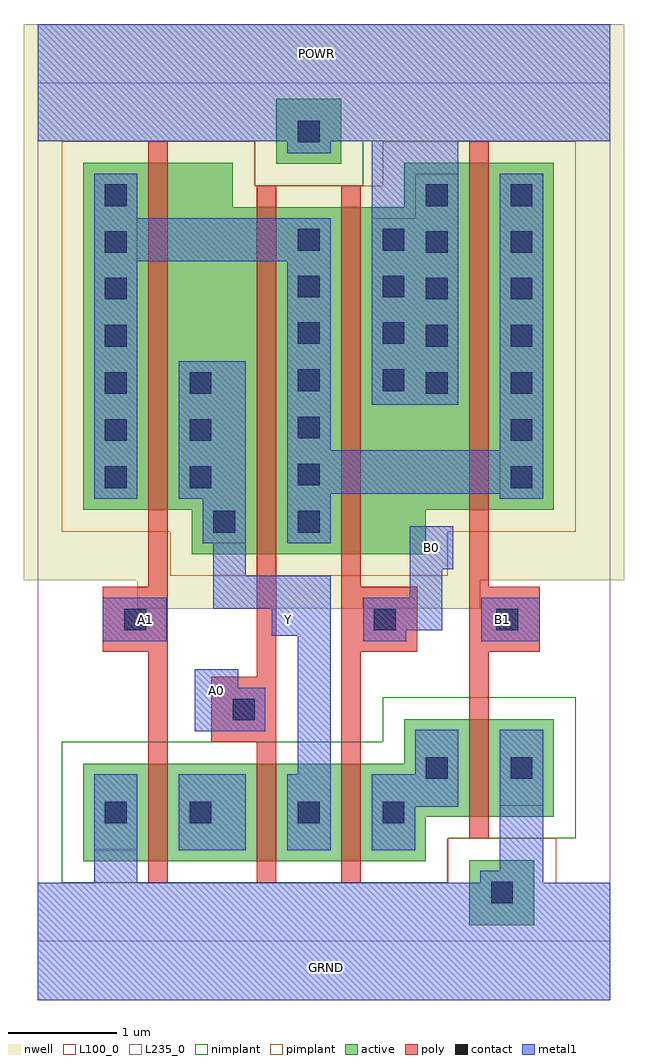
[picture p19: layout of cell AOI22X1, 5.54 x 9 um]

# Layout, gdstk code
import gdstk
lib = gdstk.Library(unit=1e-6, precision=1e-09)
def R(c, l, rs):  # rectangles x0, y0, x1, y1
    for r in rs: c.add(gdstk.rectangle(r[:2], r[2:], *l))
def A(c, l, x, y, w, h, nx, ny, dx, dy):  # array of equal rectangles
    R(c, l, [(x+i*dx, y+j*dy, x+i*dx+w, y+j*dy+h) for i in range(nx) for j in range(ny)])
def P(c, l, *ps):  # polygons
    for p in ps: c.add(gdstk.Polygon(p, *l))
active = (1, 0)
nwell = (2, 0)
poly = (3, 0)
nimplant = (4, 0)
pimplant = (5, 0)
contact = (6, 0)
metal1 = (7, 0)
L100_0 = (100, 0)
L235_0 = (235, 0)

aoi22x1 = lib.new_cell('AOI22X1')
R(aoi22x1, active, [(3.98,0.15,4.58,0.75), (0.42,0.74,1.02,1.64), (1.02,0.74,1.2,1.64), (1.2,0.74,2.02,1.64), (2.02,0.74,2.2,1.64), (2.2,0.74,2.8,1.64), (2.8,0.74,2.98,1.64), (3.98,1.15,4.16,2.05), (4.16,1.15,4.76,2.05), (2.02,3.57,2.2,6.77), (2.2,3.57,2.8,6.77), (2.8,3.57,2.98,6.77), (0.42,3.98,1.02,7.18), (1.02,3.98,1.2,7.18), (3.98,3.98,4.16,7.18), (4.16,3.98,4.76,7.18), (2.2,7.17,2.8,7.77)])
P(aoi22x1, active, [(2.02,6.77),(1.8,6.77),(1.8,7.18),(1.2,7.18),(1.2,3.98),(1.42,3.98),(1.42,3.57),(2.02,3.57)],
  [(3.98,7.18),(3.38,7.18),(3.38,6.77),(2.98,6.77),(2.98,3.57),(3.58,3.57),(3.58,3.98),(3.98,3.98)],
  [(3.98,2.05),(3.38,2.05),(3.38,1.64),(2.98,1.64),(2.98,0.74),(3.58,0.74),(3.58,1.15),(3.98,1.15)])
P(aoi22x1, nwell, [(5.41,8.46),(-0.13,8.46),(-0.13,3.33),(0.92,3.33),(0.92,3.07),(4.08,3.07),(4.08,3.33),(5.41,3.33)])
R(aoi22x1, poly, [(1.02,0.54,1.2,0.74), (1.02,0.54,1.2,1.84), (2.02,0.54,2.2,0.74), (2.02,0.54,2.2,1.84), (2.8,0.54,2.98,0.74), (2.8,0.54,2.98,1.84), (3.98,0.95,4.16,1.15), (3.98,0.95,4.16,2.25), (1.02,1.64,1.2,1.84), (2.02,1.64,2.2,1.84), (2.8,1.64,2.98,1.84), (3.98,2.05,4.16,2.25), (2.02,3.37,2.2,3.57), (2.02,3.37,2.2,6.97), (2.8,3.37,2.98,3.57), (2.8,3.37,2.98,6.97), (1.02,3.78,1.2,3.98), (1.02,3.78,1.2,7.38), (3.98,3.78,4.16,3.98), (3.98,3.78,4.16,7.38), (2.02,6.77,2.2,6.97), (2.8,6.77,2.98,6.97), (1.02,7.18,1.2,7.38), (3.98,7.18,4.16,7.38)])
P(aoi22x1, poly, [(1.2,3.85),(1.02,3.85),(1.02,3.27),(0.6,3.27),(0.6,2.67),(1.02,2.67),(1.02,1.8),(1.2,1.8)],
  [(2.2,3.41),(2.02,3.41),(2.02,2.44),(1.6,2.44),(1.6,1.84),(2.02,1.84),(2.02,1.8),(2.2,1.8)],
  [(3.5,3.27),(2.98,3.27),(2.98,3.4),(2.8,3.4),(2.8,1.78),(2.98,1.78),(2.98,2.67),(3.5,2.67)],
  [(4.63,3.27),(4.16,3.27),(4.16,3.79),(3.98,3.79),(3.98,2.23),(4.16,2.23),(4.16,2.67),(4.63,2.67)])
P(aoi22x1, nimplant, [(5.28,8.46),(0,8.46),(0,7.38),(2,7.38),(2,6.97),(3,6.97),(3,7.38),(5.28,7.38)],
  [(4.96,2.25),(3.18,2.25),(3.18,1.84),(0.22,1.84),(0.22,0.54),(3.78,0.54),(3.78,0.95),(4.96,0.95)])
P(aoi22x1, pimplant, [(4.96,7.38),(3.18,7.38),(3.18,6.97),(2,6.97),(2,7.38),(0.22,7.38),(0.22,3.78),(1.22,3.78),(1.22,3.37),(3.78,3.37),(3.78,3.78),(4.96,3.78)],
  [(5.28,0.54),(4.78,0.54),(4.78,0.95),(3.78,0.95),(3.78,0.54),(0,0.54),(0,-0.54),(5.28,-0.54)])
A(aoi22x1, contact, 2.4, 3.77, 0.2, 0.2, 1, 5, 0, 0.435)
A(aoi22x1, contact, 0.62, 4.18, 0.2, 0.2, 1, 5, 0, 0.435)
A(aoi22x1, contact, 1.4, 4.18, 0.2, 0.2, 1, 3, 0, 0.435)
A(aoi22x1, contact, 4.36, 4.18, 0.2, 0.2, 1, 5, 0, 0.435)
A(aoi22x1, contact, 3.58, 5.05, 0.2, 0.2, 1, 3, 0, 0.435)
A(aoi22x1, contact, 3.18, 5.51, 0.2, 0.2, 1, 3, 0, 0.43)
R(aoi22x1, contact, [(4.18,0.35,4.38,0.55), (0.62,1.09,0.82,1.29), (1.4,1.09,1.6,1.29), (2.4,1.09,2.6,1.29), (3.18,1.09,3.38,1.29), (3.58,1.5,3.78,1.7), (4.36,1.5,4.56,1.7), (1.8,2.04,2,2.24), (0.8,2.87,1,3.07), (3.1,2.87,3.3,3.07), (4.23,2.87,4.43,3.07), (1.62,3.77,1.82,3.97), (3.18,5.075,3.38,5.275), (2.4,5.94,2.6,6.14), (0.62,6.35,0.82,6.55), (3.58,6.35,3.78,6.55), (4.36,6.35,4.56,6.55), (2.4,6.37,2.6,6.57), (0.62,6.78,0.82,6.98), (3.58,6.78,3.78,6.98), (4.36,6.78,4.56,6.98), (2.4,7.37,2.6,7.57)])
R(aoi22x1, metal1, [(0,-0.54,5.28,0.54), (1.3,0.84,1.92,1.54), (1.5,2.16,1.8,2.46), (0.6,2.77,1.19,3.17), (3,2.77,3.4,3.17), (4.09,2.77,4.63,3.17), (0.84,2.82,1.14,3.12), (2.16,2.82,2.46,3.12), (4.14,2.82,4.44,3.12), (3.43,3.43,3.83,3.83), (3.48,3.48,3.78,3.78), (3.08,4.95,3.88,7.38), (2.3,7.27,2.7,7.67), (0,7.38,5.28,8.46)])
P(aoi22x1, metal1, [(4.66,1.25),(4.26,1.25),(4.26,0.65),(4.08,0.65),(4.08,0.25),(4.48,0.25),(4.48,0.54),(4.66,0.54)],
  [(1.92,5.35),(1.3,5.35),(1.3,4.08),(1.52,4.08),(1.52,3.67),(1.92,3.67)],
  [(2.1,2.34),(1.85,2.34),(1.85,2.51),(1.45,2.51),(1.45,1.94),(2.1,1.94)],
  [(3.88,1.95),(3.48,1.95),(3.48,1.54),(3.08,1.54),(3.08,0.84),(3.48,0.84),(3.48,1.24),(3.88,1.24)])
R(aoi22x1, L100_0, [(0.52,0.84,0.92,1.54), (1.3,0.84,1.92,1.54), (4.26,1.25,4.66,1.95), (0.52,4.08,0.92,7.08), (4.26,4.08,4.66,7.08)])
P(aoi22x1, L100_0, [(1.92,5.35),(1.3,5.35),(1.3,4.08),(1.52,4.08),(1.52,3.67),(1.92,3.67)],
  [(3.88,7.08),(3.48,7.08),(3.48,6.67),(3.08,6.67),(3.08,4.95),(3.88,4.95)],
  [(3.88,1.95),(3.48,1.95),(3.48,1.54),(3.08,1.54),(3.08,0.84),(3.48,0.84),(3.48,1.24),(3.88,1.24)])
R(aoi22x1, L235_0, [(0,0,5.28,7.92)])
aoi22x1.add(gdstk.FlexPath([(1.77,3.67),(1.77,3.22),(2.55,3.22),(2.55,1.54)], 0.3, ends="flush", simple_path=True, layer=7, datatype=0))  # metal1
aoi22x1.add(gdstk.FlexPath([(0.72,0.84),(0.72,0.54)], 0.4, ends="flush", simple_path=True, layer=7, datatype=0))  # metal1
aoi22x1.add(gdstk.FlexPath([(2.31,6.47),(0.92,6.47)], 0.4, ends="flush", simple_path=True, layer=7, datatype=0))  # metal1
aoi22x1.add(gdstk.FlexPath([(0.72,4.08),(0.72,7.08)], 0.4, ends="flush", simple_path=True, layer=7, datatype=0))  # metal1
aoi22x1.add(gdstk.FlexPath([(3.18,3.02),(3.58,3.02),(3.58,3.43)], 0.3, ends="flush", simple_path=True, layer=7, datatype=0))  # metal1
aoi22x1.add(gdstk.FlexPath([(2.5,3.67),(2.5,6.67)], 0.4, ends="flush", simple_path=True, layer=7, datatype=0))  # metal1
aoi22x1.add(gdstk.FlexPath([(2.5,0.84),(2.5,1.54)], 0.4, ends="flush", simple_path=True, layer=7, datatype=0))  # metal1
aoi22x1.add(gdstk.FlexPath([(4.26,4.33),(2.7,4.33)], 0.4, ends="flush", simple_path=True, layer=7, datatype=0))  # metal1
aoi22x1.add(gdstk.FlexPath([(4.46,4.08),(4.46,7.08)], 0.4, ends="flush", simple_path=True, layer=7, datatype=0))  # metal1
aoi22x1.add(gdstk.FlexPath([(0.72,0.84),(0.72,1.54)], 0.4, ends="flush", simple_path=True, layer=7, datatype=0))  # metal1
aoi22x1.add(gdstk.FlexPath([(4.46,1.25),(4.46,1.95)], 0.4, ends="flush", simple_path=True, layer=7, datatype=0))  # metal1
aoi22x1.add(gdstk.Label('A1', (0.99,2.97), layer=230, texttype=0))
aoi22x1.add(gdstk.Label('A0', (1.65,2.31), layer=230, texttype=0))
aoi22x1.add(gdstk.Label('Y', (2.31,2.97), layer=230, texttype=0))
aoi22x1.add(gdstk.Label('B1', (4.29,2.97), layer=230, texttype=0))
aoi22x1.add(gdstk.Label('B0', (3.63,3.63), layer=230, texttype=0))
aoi22x1.add(gdstk.Label('GRND', (2.66,-0.24), layer=230, texttype=0))
aoi22x1.add(gdstk.Label('POWR', (2.57,8.19), layer=230, texttype=0))

lib.write_gds('AOI22X1.gds')
